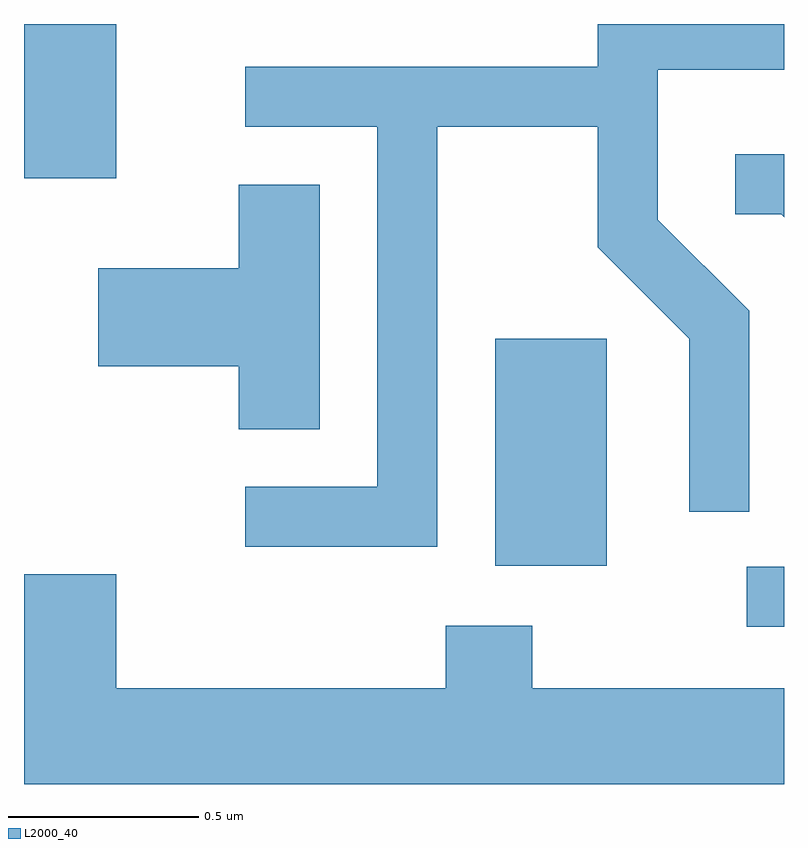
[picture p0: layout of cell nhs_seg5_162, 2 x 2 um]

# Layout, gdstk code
import gdstk
lib = gdstk.Library(unit=1e-6, precision=1e-09)
def R(c, l, rs):  # rectangles x0, y0, x1, y1
    for r in rs: c.add(gdstk.rectangle(r[:2], r[2:], *l))
def P(c, l, *ps):  # polygons
    for p in ps: c.add(gdstk.Polygon(p, *l))
L2000_40 = (2000, 40)

nhs_seg5_162 = lib.new_cell('nhs_seg5_162')
R(nhs_seg5_162, L2000_40, [(188.513,1419.486,188.611,1419.644), (187.851,1419.646,188.144,1420.244), (186.611,1420.666,186.854,1421.072)])
P(nhs_seg5_162, L2000_40, [(187.699,1420.801),(188.121,1420.801),(188.121,1420.484),(188.361,1420.244),(188.361,1419.788),(188.519,1419.788),(188.519,1420.317),(188.279,1420.557),(188.279,1420.951),(188.611,1420.951),(188.611,1421.072),(188.121,1421.072),(188.121,1420.959),(187.193,1420.959),(187.193,1420.801),(187.541,1420.801),(187.541,1419.854),(187.193,1419.854),(187.193,1419.696),(187.699,1419.696)],
  [(188.611,1420.729),(188.483,1420.729),(188.483,1420.571),(188.604,1420.571),(188.611,1420.564)],
  [(187.389,1420.649),(187.176,1420.649),(187.176,1420.429),(186.806,1420.429),(186.806,1420.171),(187.176,1420.171),(187.176,1420.006),(187.389,1420.006)],
  [(188.611,1419.324),(187.949,1419.324),(187.949,1419.489),(187.721,1419.489),(187.721,1419.324),(186.854,1419.324),(186.854,1419.624),(186.611,1419.624),(186.611,1419.072),(188.611,1419.072)])

lib.write_gds('nhs_seg5_162.gds')
